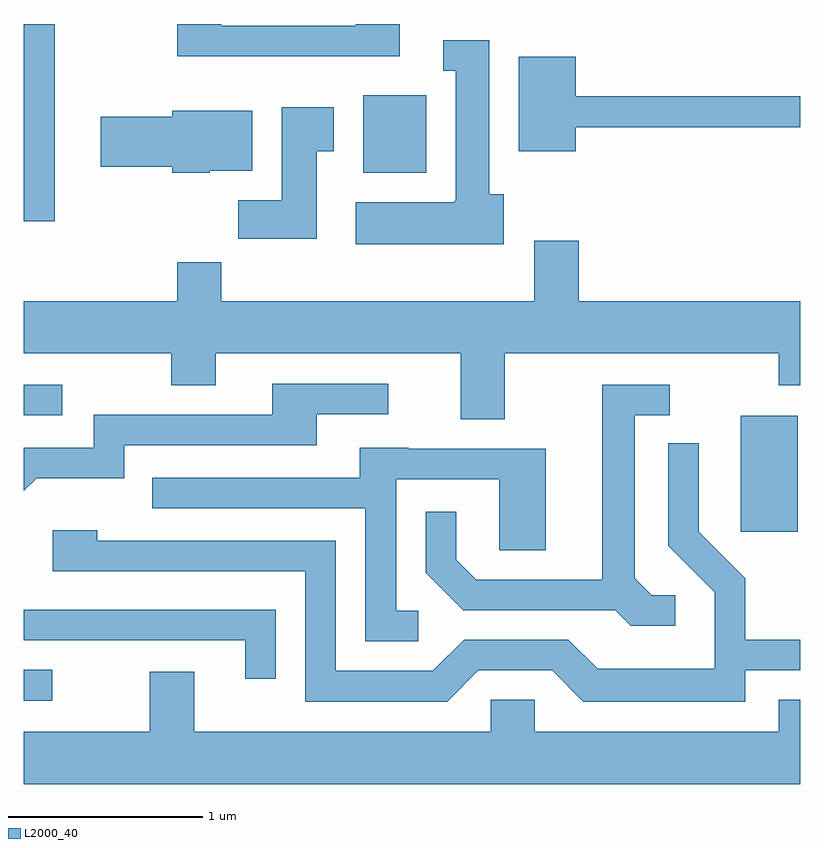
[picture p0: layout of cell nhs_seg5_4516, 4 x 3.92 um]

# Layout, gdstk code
import gdstk
lib = gdstk.Library(unit=1e-6, precision=1e-09)
def R(c, l, rs):  # rectangles x0, y0, x1, y1
    for r in rs: c.add(gdstk.rectangle(r[:2], r[2:], *l))
def P(c, l, *ps):  # polygons
    for p in ps: c.add(gdstk.Polygon(p, *l))
L2000_40 = (2000, 40)

nhs_seg5_4516 = lib.new_cell('nhs_seg5_4516')
R(nhs_seg5_4516, L2000_40, [(319.611,1430.586,319.758,1430.744), (323.306,1431.456,323.599,1432.054), (319.611,1432.056,319.808,1432.214), (319.611,1433.056,319.769,1434.072), (321.361,1433.306,321.684,1433.704)])
P(nhs_seg5_4516, L2000_40, [(321.549,1434.072),(321.321,1434.072),(321.321,1434.064),(320.629,1434.064),(320.629,1434.072),(320.401,1434.072),(320.401,1433.906),(321.549,1433.906)],
  [(322.084,1433.194),(322.009,1433.194),(322.009,1433.989),(321.773,1433.989),(321.773,1433.831),(321.836,1433.831),(321.836,1433.16),(321.83,1433.16),(321.83,1433.154),(321.321,1433.154),(321.321,1432.936),(322.084,1432.936)],
  [(322.454,1433.541),(323.611,1433.541),(323.611,1433.699),(322.454,1433.699),(322.454,1433.904),(322.161,1433.904),(322.161,1433.416),(322.454,1433.416)],
  [(321.119,1433.416),(321.209,1433.416),(321.209,1433.644),(320.941,1433.644),(320.941,1433.164),(320.716,1433.164),(320.716,1432.966),(321.119,1432.966)],
  [(320.57,1433.316),(320.789,1433.316),(320.789,1433.624),(320.376,1433.624),(320.376,1433.594),(320.006,1433.594),(320.006,1433.336),(320.376,1433.336),(320.376,1433.306),(320.57,1433.306)],
  [(320.629,1432.844),(320.401,1432.844),(320.401,1432.644),(319.611,1432.644),(319.611,1432.376),(320.371,1432.376),(320.371,1432.211),(320.599,1432.211),(320.599,1432.376),(321.861,1432.376),(321.861,1432.036),(322.089,1432.036),(322.089,1432.376),(323.501,1432.376),(323.501,1432.211),(323.611,1432.211),(323.611,1432.644),(322.469,1432.644),(322.469,1432.954),(322.241,1432.954),(322.241,1432.644),(320.629,1432.644)],
  [(319.677,1431.731),(320.129,1431.731),(320.129,1431.901),(321.119,1431.901),(321.119,1432.061),(321.488,1432.061),(321.488,1432.219),(320.891,1432.219),(320.891,1432.059),(319.971,1432.059),(319.971,1431.889),(319.611,1431.889),(319.611,1431.666)],
  [(322.968,1431.129),(322.847,1431.129),(322.759,1431.217),(322.759,1432.056),(322.938,1432.056),(322.938,1432.214),(322.591,1432.214),(322.591,1431.209),(321.942,1431.209),(321.839,1431.312),(321.839,1431.558),(321.681,1431.558),(321.681,1431.244),(321.874,1431.051),(322.659,1431.051),(322.739,1430.971),(322.968,1430.971)],
  [(321.952,1430.741),(322.334,1430.741),(322.494,1430.581),(323.329,1430.581),(323.329,1430.741),(323.611,1430.741),(323.611,1430.899),(323.329,1430.899),(323.329,1431.217),(323.089,1431.457),(323.089,1431.913),(322.931,1431.913),(322.931,1431.384),(323.171,1431.144),(323.171,1430.749),(322.567,1430.749),(322.417,1430.899),(321.879,1430.899),(321.719,1430.739),(321.219,1430.739),(321.219,1431.409),(319.989,1431.409),(319.989,1431.464),(319.761,1431.464),(319.761,1431.251),(321.061,1431.251),(321.061,1430.581),(321.792,1430.581)],
  [(321.643,1431.049),(321.529,1431.049),(321.529,1431.726),(322.061,1431.726),(322.061,1431.361),(322.299,1431.361),(322.299,1431.884),(321.595,1431.884),(321.595,1431.889),(321.341,1431.889),(321.341,1431.734),(320.273,1431.734),(320.273,1431.576),(321.371,1431.576),(321.371,1430.891),(321.643,1430.891)],
  [(320.909,1431.054),(319.611,1431.054),(319.611,1430.896),(320.751,1430.896),(320.751,1430.698),(320.909,1430.698)],
  [(323.611,1430.589),(323.501,1430.589),(323.501,1430.424),(322.244,1430.424),(322.244,1430.589),(322.016,1430.589),(322.016,1430.424),(320.489,1430.424),(320.489,1430.734),(320.261,1430.734),(320.261,1430.424),(319.611,1430.424),(319.611,1430.156),(323.611,1430.156)])

lib.write_gds('nhs_seg5_4516.gds')
